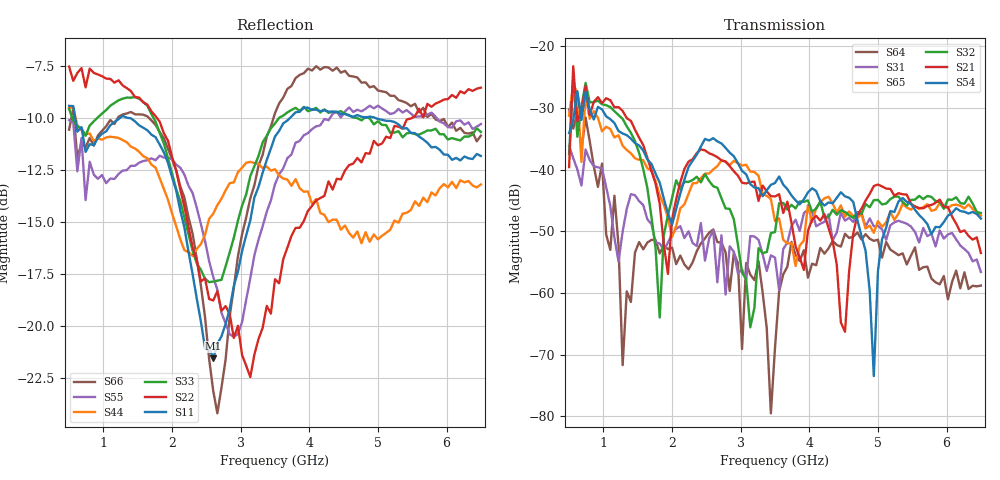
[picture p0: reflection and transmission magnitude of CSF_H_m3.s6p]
!Keysight Technologies,M9804A,MY58100912,A.14.10.03
!Date: Thursday, April 27, 2023 10:28:33
!Correction: S11(C  6-Port  )
!S12(C  6-Port  )
!S13(C  6-Port  )
!S14(C  6-Port  )
!S15(C  6-Port  )
!S16(C  6-Port  )
!S21(C  6-Port  )
!S22(C  6-Port  )
!S23(C  6-Port  )
!S24(C  6-Port  )
!S25(C  6-Port  )
!S26(C  6-Port  )
!S31(C  6-Port  )
!S32(C  6-Port  )
!S33(C  6-Port  )
!S34(C  6-Port  )
!S35(C  6-Port  )
!S36(C  6-Port  )
!S41(C  6-Port  )
!S42(C  6-Port  )
!S43(C  6-Port  )
!S44(C  6-Port  )
!S45(C  6-Port  )
!S46(C  6-Port  )
!S51(C  6-Port  )
!S52(C  6-Port  )
!S53(C  6-Port  )
!S54(C  6-Port  )
!S55(C  6-Port  )
!S56(C  6-Port  )
!S61(C  6-Port  )
!S62(C  6-Port  )
!S63(C  6-Port  )
!S64(C  6-Port  )
!S65(C  6-Port  )
!S66(C  6-Port  )
!S6P File: Measurement: :
# Hz S  RI  R 50
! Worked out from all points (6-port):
!   101 points, 500 MHz to 6.5 GHz, reference 50 ohm
!   strongest paths, dB at 500 MHz, 2 GHz, 3.5 GHz, 5 GHz, 6.5 GHz:
!     S54: -34.1, -48.9, -42.2, -56.4, -47.9
!     S21: -39.6, -48.1, -44.4, -42.4, -53.5
!     S32: -37.5, -44.6, -50.1, -44.9, -47.0
!     S65: -31.3, -50.9, -48.4, -48.4, -47.5
!     S31: -36.2, -50.5, -54.3, -49.1, -56.6
!     S64: -30.2, -52.6, -68.9, -51.4, -58.8
!   lowest |S11| = -21.6 dB at 2.6 GHz (marker M1), VSWR 1.18, Z = 42.6 + j2.06 ohm
!   |S11| at or under -10 dB: 588.6 MHz to 1.235 GHz (646.5 MHz wide, 70.9 % of centre); 1.396 GHz to 3.713 GHz (2.317 GHz wide, 90.7 % of centre); 4.973 GHz to end of sweep
